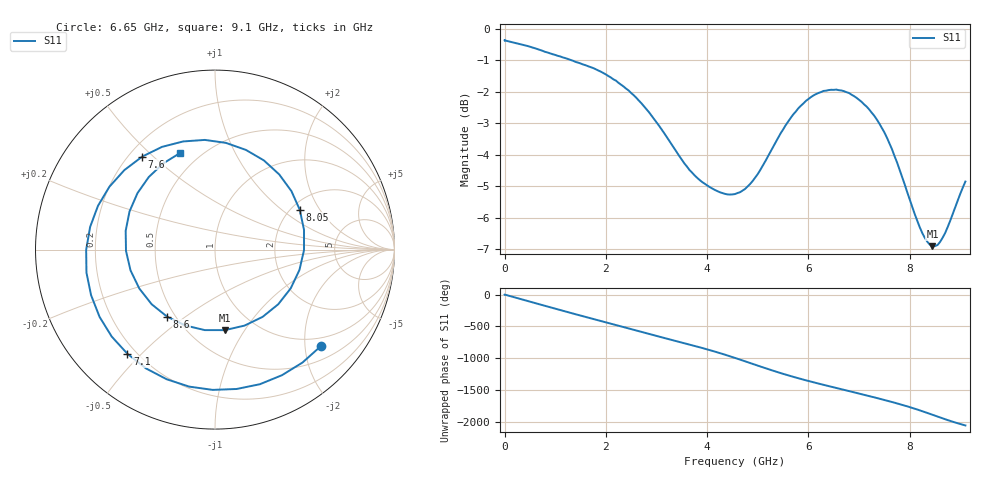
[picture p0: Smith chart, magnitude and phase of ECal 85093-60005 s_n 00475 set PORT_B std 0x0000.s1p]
!Created with skrf (http://scikit-rf.org).
# Hz S RI R 50.0
!freq ReS11 ImS11
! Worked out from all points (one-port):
!   252 points, 30 kHz to 9.1 GHz, reference 50 ohm
!   lowest |S11| = -6.9 dB at 8.45 GHz (marker M1), VSWR 2.65, Z = 36.3 - j41 ohm
!   |S11| at or under -10 dB: nowhere
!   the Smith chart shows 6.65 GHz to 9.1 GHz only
!   S11 on the Smith chart (normalised r, x): 6.65 GHz: 0.79, -2.34; 7.1 GHz: 0.17, -0.46; 7.6 GHz: 0.25, +0.46; 8.05 GHz: 2.22, +1.35; 8.6 GHz: 0.45, -0.43; 9.1 GHz: 0.39, +0.63
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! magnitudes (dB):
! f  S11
! 30 kHz  -0.4
! 1.15 GHz  -0.9
! 1.85 GHz  -1.3
! 2.3 GHz  -1.8
! 2.85 GHz  -2.6
! 3.45 GHz  -4.0
! 3.75 GHz  -4.6
! 4.05 GHz  -5.0
! 4.35 GHz  -5.2
! 4.6 GHz  -5.2
! 4.75 GHz  -5.1
! 5 GHz  -4.6
! 5.45 GHz  -3.3
! 5.7 GHz  -2.7
! 5.95 GHz  -2.3
! 6.15 GHz  -2.1
! 6.65 GHz  -2.0
! 6.85 GHz  -2.1
! 7.1 GHz  -2.4
! 7.35 GHz  -2.9
! 7.6 GHz  -3.6
! 8 GHz  -5.4
! 8.05 GHz  -5.6
! 8.25 GHz  -6.5
! 8.45 GHz  -6.9
! 8.6 GHz  -6.8
! 8.75 GHz  -6.3
! 9.1 GHz  -4.8
